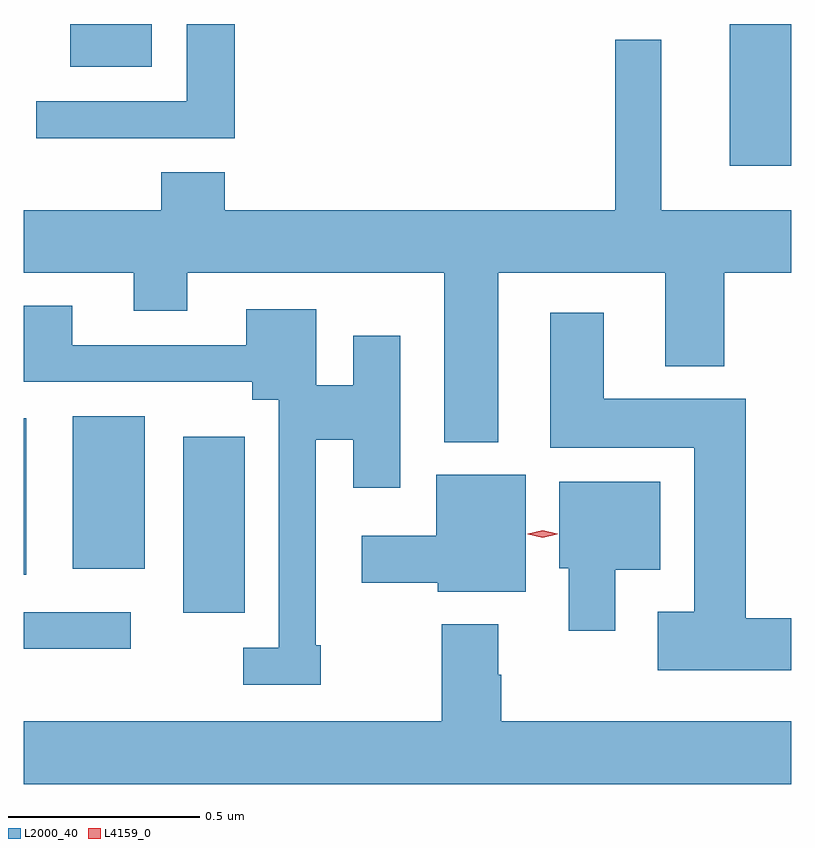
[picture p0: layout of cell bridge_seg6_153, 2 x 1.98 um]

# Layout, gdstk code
import gdstk
lib = gdstk.Library(unit=1e-6, precision=1e-09)
def R(c, l, rs):  # rectangles x0, y0, x1, y1
    for r in rs: c.add(gdstk.rectangle(r[:2], r[2:], *l))
def P(c, l, *ps):  # polygons
    for p in ps: c.add(gdstk.Polygon(p, *l))
L2000_40 = (2000, 40)
L4159_0 = (4159, 0)

bridge_seg6_153 = lib.new_cell('bridge_seg6_153')
R(bridge_seg6_153, L2000_40, [(587.413,961.008,587.692,961.104), (587.828,961.103,587.989,961.561), (587.413,961.202,587.419,961.609), (587.54,961.217,587.728,961.615), (589.253,962.267,589.413,962.637), (587.534,962.525,587.746,962.637)])
P(bridge_seg6_153, L2000_40, [(587.963,962.637),(587.837,962.637),(587.837,962.436),(587.445,962.436),(587.445,962.339),(587.963,962.339)],
  [(588.649,961.988),(589.085,961.988),(589.085,961.745),(589.238,961.745),(589.238,961.988),(589.413,961.988),(589.413,962.152),(589.075,962.152),(589.075,962.596),(588.954,962.596),(588.954,962.152),(587.936,962.152),(587.936,962.251),(587.771,962.251),(587.771,962.152),(587.413,962.152),(587.413,961.988),(587.699,961.988),(587.699,961.889),(587.839,961.889),(587.839,961.988),(588.509,961.988),(588.509,961.547),(588.649,961.547)],
  [(588.187,961.018),(588.174,961.018),(588.174,961.553),(588.272,961.553),(588.272,961.428),(588.394,961.428),(588.394,961.825),(588.272,961.825),(588.272,961.695),(588.175,961.695),(588.175,961.894),(587.993,961.894),(587.993,961.8),(587.539,961.8),(587.539,961.903),(587.413,961.903),(587.413,961.704),(588.008,961.704),(588.008,961.658),(588.078,961.658),(588.078,961.011),(587.985,961.011),(587.985,960.915),(588.187,960.915)],
  [(589.413,961.088),(589.295,961.088),(589.295,961.66),(588.925,961.66),(588.925,961.885),(588.785,961.885),(588.785,961.532),(589.16,961.532),(589.16,961.105),(589.065,961.105),(589.065,960.953),(589.413,960.953)],
  [(588.721,961.462),(588.488,961.462),(588.488,961.303),(588.294,961.303),(588.294,961.181),(588.492,961.181),(588.492,961.157),(588.721,961.157)],
  [(588.955,961.214),(589.072,961.214),(589.072,961.444),(588.809,961.444),(588.809,961.218),(588.833,961.218),(588.833,961.056),(588.955,961.056)],
  [(589.413,960.82),(588.657,960.82),(588.657,960.941),(588.649,960.941),(588.649,961.072),(588.502,961.072),(588.502,960.82),(587.413,960.82),(587.413,960.656),(589.413,960.656)])
P(bridge_seg6_153, L4159_0, [(588.765,961.298),(588.727,961.307),(588.727,961.308),(588.727,961.308),(588.765,961.318),(588.803,961.308),(588.804,961.308),(588.803,961.307)])

lib.write_gds('bridge_seg6_153.gds')
